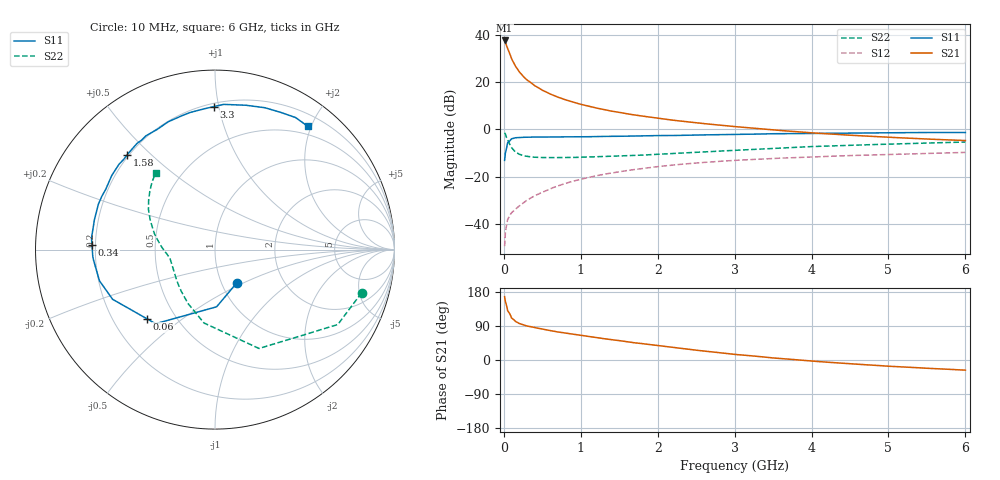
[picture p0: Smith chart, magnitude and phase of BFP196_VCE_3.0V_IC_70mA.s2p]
! Infineon Technologies  Discrete & RF Semiconductors
! BFP196
! VCE = 3.0 V,  IC =  70mA
! Common Emitter S-Parameters:  Jan 2016
# GHz  S  MA  R  50
!  f  S11  S21  S12  S22
! GHz  MAG  ANG  MAG  ANG  MAG  ANG  MAG  ANG
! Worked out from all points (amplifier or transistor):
!   210 points, 10 MHz to 6 GHz, reference 50 ohm
!   highest |S21| = 37.6 dB at 10 MHz (marker M1)
!   |S21| within 3 dB of that: start of sweep to 44.49 MHz
!   unconditionally stable (mu >= 1): 392.3 MHz to 4.473 GHz
!   at 185 MHz: K = 0.80, MSG = 29.0 dB, |S12| = -32.8 dB
!   at 1.52 GHz: K = 1.08, MAG = 10.7 dB, |S12| = -17.8 dB
!   at 6 GHz: K = 0.98, MSG = 2.5 dB, |S12| = -9.7 dB
!   S11 on the Smith chart (normalised r, x): 10 MHz: 1.18, -0.46; 60 MHz: 0.35, -0.38; 340 MHz: 0.19, +0.02; 1.58 GHz: 0.19, +0.42; 3.3 GHz: 0.22, +0.97; 6 GHz: 0.37, +1.95
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0.01  0.2215 -56.8  75.98 167.0  0.0034 79.0  0.8517 -16.4
0.02  0.3188 -88.4  70.09 154.4  0.0065 69.3  0.8016 -31.4
0.05  0.529 -128.7  51.21 129.8  0.0125 56.0  0.603 -66.0
0.06  0.5405 -134.5  46.89 127.3  0.0134 54.4  0.554 -70.6
0.1  0.6341 -154.1  31.1 110.8  0.0173 49.6  0.4136 -98.5
0.15  0.6668 -164.9  21.69 101.8  0.0205 52.6  0.3356 -116.7
0.2  0.6726 -171.7  16.58 96.3  0.024 55.9  0.2996 -128.6
0.24  0.6798 -175.3  13.92 93.5  0.0269 58.0  0.2836 -135.7
0.3  0.6831 -179.7  11.13 89.8  0.0318 61.0  0.27 -143.3
0.34  0.6855 178.0  10.05 88.3  0.0348 62.0  0.2647 -146.6
0.4  0.6911 174.7  8.43 85.4  0.0393 63.2  0.2584 -151.8
0.5  0.6892 170.3  6.746 81.5  0.0468 64.6  0.2544 -157.5
0.6  0.6922 166.2  5.626 77.7  0.0553 65.2  0.2532 -161.1
0.8  0.6972 158.7  4.23 71.1  0.0721 63.9  0.2548 -166.2
1.02  0.6962 150.4  3.334 64.5  0.0898 62.2  0.2584 -170.3
1.58  0.7195 132.9  2.169 48.8  0.1335 55.0  0.2783 -177.5
2.02  0.7414 120.7  1.708 37.7  0.1645 48.2  0.2988 176.7
3.1  0.7869 94.3  1.111 13.2  0.2258 31.9  0.3672 161.1
3.3  0.7969 90.4  1.041 9.5  0.2344 29.0  0.3816 158.2
4.1  0.8245 76.4  0.827 -4.3  0.2653 19.0  0.4391 147.6
5.1  0.85 63.1  0.671 -17.4  0.2984 7.8  0.4935 136.9
6  0.8598 53.0  0.582 -26.8  0.3264 -2.2  0.5404 127.7
